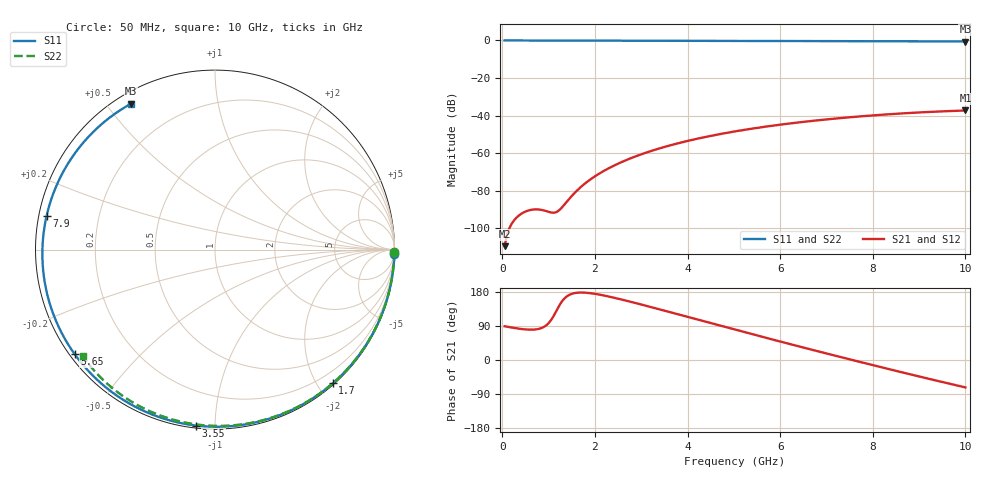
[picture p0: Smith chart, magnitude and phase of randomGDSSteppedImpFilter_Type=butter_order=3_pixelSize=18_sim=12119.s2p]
! freq	dB(S11)	phase(S11)	dB(S12)	phase(S12)
!  dB(S21)	phase(S21)	dB(S22)	phase(S22)
!S-par simulation data
#  GHz  S  DB  R 50
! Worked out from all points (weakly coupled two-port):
!   200 points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, 50 MHz to 10 GHz, reference 50 ohm
!   highest |S21| = -37.25 dB at 10 GHz (marker M1); lowest = -109.4 dB at 50 MHz (marker M2)
!   lowest |S11| = -0.6 dB at 10 GHz (marker M3), VSWR 31.26, Z = 2.13 + j28.8 ohm
!   |S11| at or under -10 dB: nowhere
!   |S22| runs from -0.5 to 0.0 dB; largest |S21 - S12| = 0
!   S11 on the Smith chart (normalised r, x): 50 MHz: 0, -77; 1.7 GHz: 0.02, -2.21; 3.55 GHz: 0.01, -0.90; 5.65 GHz: 0.01, -0.33; 7.9 GHz: 0.02, +0.10; 10 GHz: 0.04, +0.58
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0.05  -0.00 -1.5  -109.42 89.0  -109.42 89.0  -0.00 -0.8
0.4  -0.02 -11.7  -92.34 82.0  -92.34 82.0  -0.01 -6.5
0.8  -0.03 -23.3  -89.95 82.5  -89.95 82.5  -0.02 -12.9
1.2  -0.04 -34.7  -90.85 137.1  -90.85 137.1  -0.02 -19.3
1.6  -0.06 -45.9  -80.14 177.3  -80.14 177.3  -0.03 -25.7
1.7  -0.06 -48.6  -77.86 178.1  -77.86 178.1  -0.03 -27.2
1.75  -0.06 -50.0  -76.81 177.9  -76.81 177.9  -0.04 -28.0
2.05  -0.07 -58.1  -71.48 173.6  -71.48 173.6  -0.04 -32.7
2.45  -0.09 -68.7  -66.11 163.3  -66.11 163.3  -0.05 -38.9
2.9  -0.10 -80.2  -61.46 149.6  -61.46 149.6  -0.06 -45.8
3.4  -0.12 -92.6  -57.37 133.5  -57.37 133.5  -0.07 -53.3
3.55  -0.12 -96.2  -56.30 128.6  -56.30 128.6  -0.07 -55.5
4.25  -0.15 -112.5  -52.05 105.6  -52.05 105.6  -0.09 -65.8
5.05  -0.19 -130.4  -48.27 79.4  -48.27 79.4  -0.12 -77.1
5.65  -0.22 -143.4  -45.97 60.0  -45.97 60.0  -0.14 -85.3
6.2  -0.25 -155.0  -44.18 42.4  -44.18 42.4  -0.17 -92.7
6.7  -0.29 -165.6  -42.76 26.6  -42.76 26.6  -0.19 -99.3
7.3  -0.33 -178.3  -41.30 7.9  -41.30 7.9  -0.23 -107.1
7.9  -0.38 168.7  -40.05 -10.5  -40.05 -10.5  -0.27 -114.8
8.35  -0.42 158.8  -39.25 -24.1  -39.25 -24.1  -0.31 -120.4
9.15  -0.49 140.6  -38.11 -47.9  -38.11 -47.9  -0.38 -130.5
10  -0.56 120.0  -37.25 -72.3  -37.25 -72.3  -0.48 -141.1
